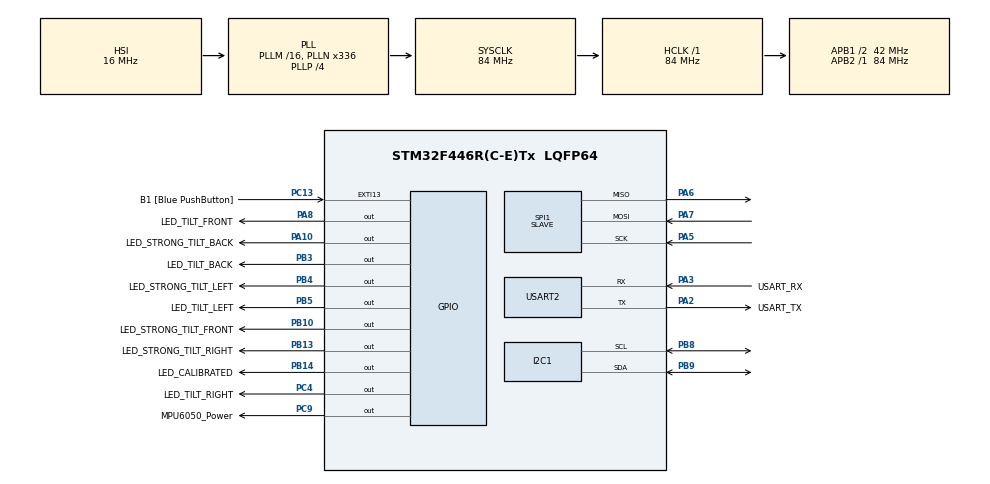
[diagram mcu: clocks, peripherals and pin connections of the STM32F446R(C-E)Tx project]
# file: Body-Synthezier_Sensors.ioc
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Dma.Request0=SPI1_RX
Dma.Request1=SPI1_TX
Dma.SPI1_RX.0.Direction=DMA_PERIPH_TO_MEMORY
Dma.SPI1_RX.0.FIFOMode=DMA_FIFOMODE_DISABLE
Dma.SPI1_RX.0.Instance=DMA2_Stream0
Dma.SPI1_RX.0.MemDataAlignment=DMA_MDATAALIGN_BYTE
Dma.SPI1_RX.0.MemInc=DMA_MINC_ENABLE
Dma.SPI1_RX.0.Mode=DMA_CIRCULAR
Dma.SPI1_RX.0.PeriphDataAlignment=DMA_PDATAALIGN_BYTE
Dma.SPI1_RX.0.PeriphInc=DMA_PINC_DISABLE
Dma.SPI1_RX.0.Priority=DMA_PRIORITY_LOW
Dma.SPI1_TX.1.Direction=DMA_MEMORY_TO_PERIPH
Dma.SPI1_TX.1.FIFOMode=DMA_FIFOMODE_DISABLE
Dma.SPI1_TX.1.Instance=DMA2_Stream3
Dma.SPI1_TX.1.MemDataAlignment=DMA_MDATAALIGN_BYTE
Dma.SPI1_TX.1.MemInc=DMA_MINC_ENABLE
Dma.SPI1_TX.1.Mode=DMA_CIRCULAR
Dma.SPI1_TX.1.PeriphDataAlignment=DMA_PDATAALIGN_BYTE
Dma.SPI1_TX.1.PeriphInc=DMA_PINC_DISABLE
Dma.SPI1_TX.1.Priority=DMA_PRIORITY_LOW
I2C1.I2C_Mode=I2C_Fast
Mcu.Family=STM32F4
Mcu.Name=STM32F446R(C-E)Tx
Mcu.Package=LQFP64
NVIC.DMA2_Stream0_IRQn=true\:0\:0\:false\:false\:true\:false\:true
NVIC.DMA2_Stream3_IRQn=true\:0\:0\:false\:false\:true\:false\:true
NVIC.PriorityGroup=NVIC_PRIORITYGROUP_0
PA10.GPIO_Label=LED_STRONG_TILT_BACK
PA10.Signal=GPIO_Output
PA13.GPIO_Label=TMS
PA13.Signal=SYS_JTMS-SWDIO
PA14.GPIO_Label=TCK
PA14.Signal=SYS_JTCK-SWCLK
PA2.GPIO_Label=USART_TX
PA2.Mode=Asynchronous
PA2.Signal=USART2_TX
PA3.GPIO_Label=USART_RX
PA3.Mode=Asynchronous
PA3.Signal=USART2_RX
PA5.Mode=Full_Duplex_Slave
PA5.Signal=SPI1_SCK
PA6.Mode=Full_Duplex_Slave
PA6.Signal=SPI1_MISO
PA7.Mode=Full_Duplex_Slave
PA7.Signal=SPI1_MOSI
PA8.GPIO_Label=LED_TILT_FRONT
PA8.Signal=GPIO_Output
PB10.GPIO_Label=LED_STRONG_TILT_FRONT
PB10.Signal=GPIO_Output
PB13.GPIO_Label=LED_STRONG_TILT_RIGHT
PB13.Signal=GPIO_Output
PB14.GPIO_Label=LED_CALIBRATED
PB14.Signal=GPIO_Output
PB3.GPIO_Label=LED_TILT_BACK
PB3.Signal=GPIO_Output
PB4.GPIO_Label=LED_STRONG_TILT_LEFT
PB4.Signal=GPIO_Output
PB5.GPIO_Label=LED_TILT_LEFT
PB5.Signal=GPIO_Output
PB8.Mode=I2C
PB8.Signal=I2C1_SCL
PB9.Mode=I2C
PB9.Signal=I2C1_SDA
PC13.GPIO_Label=B1 [Blue PushButton]
PC13.GPIO_ModeDefaultEXTI=GPIO_MODE_IT_FALLING
PC13.Signal=GPXTI13
PC14-OSC32_IN.Signal=RCC_OSC32_IN
PC15-OSC32_OUT.Signal=RCC_OSC32_OUT
PC4.GPIO_Label=LED_TILT_RIGHT
PC4.Signal=GPIO_Output
PC9.GPIO_Label=MPU6050_Power
PC9.Signal=GPIO_Output
PH0-OSC_IN.Signal=RCC_OSC_IN
PH1-OSC_OUT.Signal=RCC_OSC_OUT
ProjectManager.HeapSize=0x200
ProjectManager.StackSize=0x400
ProjectManager.TargetToolchain=STM32CubeIDE
RCC.AHBFreq_Value=84000000
RCC.APB1CLKDivider=RCC_HCLK_DIV2
RCC.APB1Freq_Value=42000000
RCC.APB1TimFreq_Value=84000000
RCC.APB2Freq_Value=84000000
RCC.APB2TimFreq_Value=84000000
RCC.CortexFreq_Value=84000000
RCC.FLatency-AdvancedSettings=FLASH_LATENCY_2
RCC.HCLKFreq_Value=84000000
RCC.HSE_VALUE=8000000
RCC.HSI_VALUE=16000000
RCC.LSE_VALUE=32768
RCC.PLLN=336
RCC.PLLP=RCC_PLLP_DIV4
RCC.SYSCLKFreq_VALUE=84000000
RCC.SYSCLKSource=RCC_SYSCLKSOURCE_PLLCLK
RCC.USBFreq_Value=168000000
RCC.VCOOutputFreq_Value=336000000
SPI1.CLKPolarity=SPI_POLARITY_HIGH
SPI1.Direction=SPI_DIRECTION_2LINES
SPI1.Mode=SPI_MODE_SLAVE
SPI1.VirtualType=VM_SLAVE
USART2.VirtualMode=VM_ASYNC
board=NUCLEO-F446RE

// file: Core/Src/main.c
/* USER CODE BEGIN Header */
/**
 ******************************************************************************
 * @file           : main.c
 * @brief          : Main program body
 ******************************************************************************
 * @attention
 *
 * <h2><center>&copy; Copyright (c) 2021 STMicroelectronics.
 * All rights reserved.</center></h2>
 *
 * This software component is licensed by ST under BSD 3-Clause license,
 * the "License"; You may not use this file except in compliance with the
 * License. You may obtain a copy of the License at:
 *                        opensource.org/licenses/BSD-3-Clause
 *
 ******************************************************************************
 */
/* USER CODE END Header */
#include "main.h"

I2C_HandleTypeDef hi2c1;

SPI_HandleTypeDef hspi1;
DMA_HandleTypeDef hdma_spi1_rx;
DMA_HandleTypeDef hdma_spi1_tx;

UART_HandleTypeDef huart2;

void SystemClock_Config(void);
static void MX_GPIO_Init(void);
static void MX_DMA_Init(void);
static void MX_SPI1_Init(void);
static void MX_USART2_UART_Init(void);
static void MX_I2C1_Init(void);

/**
 * @defgroup LED LED Feedback Controll and STMf4 main-loop
 * @ingroup SensorSTM
 * @brief Controlls the LED-Feedback-Board
 * @{
 */

int main(void)
{

  /* MCU Configuration--------------------------------------------------------*/

  /* Reset of all peripherals, Initializes the Flash interface and the Systick. */
  HAL_Init();

  /* Configure the system clock */
  SystemClock_Config();

  /* Initialize all configured peripherals */
  MX_GPIO_Init();
  MX_DMA_Init();
  MX_SPI1_Init();
  MX_USART2_UART_Init();
  MX_I2C1_Init();
  /* USER CODE BEGIN 2 */
	printf("***Bodysythesizer Sensor Board***\r\n");
	uint8_t initError_counter = 0;
	bool led_off = true;

	//Calibrated LED switc ON
	HAL_GPIO_WritePin(LED_CALIBRATED_GPIO_Port, LED_CALIBRATED_Pin,SET );

	for (int i =0;i<BUFFERSIZE;i++){
		pTxData[i] = 0;
		pRxData[i] = 0;
	}
	//Power up Gyro
	HAL_GPIO_WritePin(MPU6050_Power_GPIO_Port, MPU6050_Power_Pin,SET );
	HAL_Delay(10);

	//Gyros Init
	MPU6050_Data gyro_data;
	//	 MPU6050_STATUS gyro_status;
	while((initError_counter < 5) && MPU6050_init(&hi2c1, &gyro_data, MPU6050_ACCL_8G, MPU6050_GYRO_2000deg, MPU6050_SampleRate_2KHz != MPU6050_Status_OK)){
		initError_counter++;
		printf("MPU6050 Init Error\r\n");
		if (initError_counter == 3){
			printf("restart MPU6050\r\n");
			HAL_GPIO_WritePin(MPU6050_Power_GPIO_Port, MPU6050_Power_Pin,RESET );
			HAL_Delay(10);
			HAL_GPIO_WritePin(MPU6050_Power_GPIO_Port, MPU6050_Power_Pin,SET );
			HAL_Delay(10);
		}
	}
	if (initError_counter < 5){
		printf("MPU6050 Init complete\r\n");
		if ( MPU6050_Calibrate(&gyro_data) == MPU6050_Read_OK){
			printf("MPU6050 calibrated\r\n");
			SyncBuffer.gyro_initilized =true;
			HAL_GPIO_WritePin(LED_CALIBRATED_GPIO_Port, LED_CALIBRATED_Pin,RESET );

		}
		else{
			printf("MPU6050 calibration failed\r\n");
			SyncBuffer.gyro_initilized = false;
		}
	}
	else {
		SyncBuffer.gyro_initilized = false;
	}

  /* USER CODE END 2 */

  /* Infinite loop */
  /* USER CODE BEGIN WHILE */

	HAL_SPI_TransmitReceive_DMA(&hspi1, pTxData, pRxData, BUFFERSIZE);
	while (1)
	{
		// Get Movement detection and write into Sync buffer
		if(SyncBuffer.gyro_initilized == true){
			MPU6050_Read_Sensor();
			SyncBuffer.tilt_detected  = MPU6050_detectTilt();
		}

		__disable_irq();
		memcpy((void*)pTxData,(void*)&SyncBuffer, BUFFERSIZE);
		__enable_irq();

		//switch LED
		switch (SyncBuffer.tilt_detected) {
		case TILT_RIGHT:
			HAL_GPIO_WritePin(LED_TILT_RIGHT_GPIO_Port, LED_TILT_RIGHT_Pin,SET );
			led_off = false;
			break;
		case TILT_RIGHT_S:
			HAL_GPIO_WritePin(LED_TILT_RIGHT_GPIO_Port, LED_TILT_RIGHT_Pin,SET );
			HAL_GPIO_WritePin(LED_STRONG_TILT_RIGHT_GPIO_Port, LED_STRONG_TILT_RIGHT_Pin,SET );
			led_off = false;
			break;
		case TILT_LEFT:
			HAL_GPIO_WritePin(LED_TILT_LEFT_GPIO_Port, LED_TILT_LEFT_Pin,SET );
			led_off = false;
			break;
		case TILT_LEFT_S:
			HAL_GPIO_WritePin(LED_TILT_LEFT_GPIO_Port, LED_TILT_LEFT_Pin,SET );
			HAL_GPIO_WritePin(LED_STRONG_TILT_LEFT_GPIO_Port, LED_STRONG_TILT_LEFT_Pin,SET );
			led_off = false;
			break;
		case TILT_FRONT:
			HAL_GPIO_WritePin(LED_TILT_FRONT_GPIO_Port, LED_TILT_FRONT_Pin,SET );
			led_off = false;
			break;
		case TILT_FRONT_S:
			HAL_GPIO_WritePin(LED_TILT_FRONT_GPIO_Port, LED_TILT_FRONT_Pin,SET );
			HAL_GPIO_WritePin(LED_STRONG_TILT_FRONT_GPIO_Port, LED_STRONG_TILT_FRONT_Pin,SET );
			led_off = false;
			break;
		case TILT_BACK:
			HAL_GPIO_WritePin(LED_TILT_BACK_GPIO_Port, LED_TILT_BACK_Pin,SET );
			led_off = false;
			break;
		case TILT_BACK_S:
			HAL_GPIO_WritePin(LED_TILT_BACK_GPIO_Port, LED_TILT_BACK_Pin,SET );
			HAL_GPIO_WritePin(LED_STRONG_TILT_BACK_GPIO_Port, LED_STRONG_TILT_BACK_Pin,SET );
			led_off = false;
			break;
		default:
			if (!led_off) {
				HAL_GPIO_WritePin(LED_TILT_LEFT_GPIO_Port, LED_TILT_LEFT_Pin,RESET );
				HAL_GPIO_WritePin(LED_STRONG_TILT_LEFT_GPIO_Port, LED_STRONG_TILT_LEFT_Pin,RESET );
				HAL_GPIO_WritePin(LED_TILT_FRONT_GPIO_Port, LED_TILT_FRONT_Pin,RESET );
				HAL_GPIO_WritePin(LED_STRONG_TILT_FRONT_GPIO_Port, LED_STRONG_TILT_FRONT_Pin,RESET );
				HAL_GPIO_WritePin(LED_TILT_BACK_GPIO_Port, LED_TILT_BACK_Pin,RESET );
				HAL_GPIO_WritePin(LED_STRONG_TILT_BACK_GPIO_Port, LED_STRONG_TILT_BACK_Pin,RESET );
				HAL_GPIO_WritePin(LED_TILT_RIGHT_GPIO_Port, LED_TILT_RIGHT_Pin,RESET );
				HAL_GPIO_WritePin(LED_STRONG_TILT_RIGHT_GPIO_Port, LED_STRONG_TILT_RIGHT_Pin,RESET );
				led_off = true;
			}

			break;
		}
		//	HAL_Delay(10);
    /* USER CODE END WHILE */

	}
}
 /**
   * @}
   *
   */
void SystemClock_Config(void)
{
  RCC_OscInitTypeDef RCC_OscInitStruct = {0};
  RCC_ClkInitTypeDef RCC_ClkInitStruct = {0};

  /** Configure the main internal regulator output voltage
  */
  __HAL_RCC_PWR_CLK_ENABLE();
  __HAL_PWR_VOLTAGESCALING_CONFIG(PWR_REGULATOR_VOLTAGE_SCALE3);
  /** Initializes the RCC Oscillators according to the specified parameters
  * in the RCC_OscInitTypeDef structure.
  */
  RCC_OscInitStruct.OscillatorType = RCC_OSCILLATORTYPE_HSI;
  RCC_OscInitStruct.HSIState = RCC_HSI_ON;
  RCC_OscInitStruct.HSICalibrationValue = RCC_HSICALIBRATION_DEFAULT;
  RCC_OscInitStruct.PLL.PLLState = RCC_PLL_ON;
  RCC_OscInitStruct.PLL.PLLSource = RCC_PLLSOURCE_HSI;
  RCC_OscInitStruct.PLL.PLLM = 16;
  RCC_OscInitStruct.PLL.PLLN = 336;
  RCC_OscInitStruct.PLL.PLLP = RCC_PLLP_DIV4;
  RCC_OscInitStruct.PLL.PLLQ = 2;
  RCC_OscInitStruct.PLL.PLLR = 2;
  if (HAL_RCC_OscConfig(&RCC_OscInitStruct) != HAL_OK)
  {
    Error_Handler();
  }
  /** Initializes the CPU, AHB and APB buses clocks
  */
  RCC_ClkInitStruct.ClockType = RCC_CLOCKTYPE_HCLK|RCC_CLOCKTYPE_SYSCLK
                              |RCC_CLOCKTYPE_PCLK1|RCC_CLOCKTYPE_PCLK2;
  RCC_ClkInitStruct.SYSCLKSource = RCC_SYSCLKSOURCE_PLLCLK;
  RCC_ClkInitStruct.AHBCLKDivider = RCC_SYSCLK_DIV1;
  RCC_ClkInitStruct.APB1CLKDivider = RCC_HCLK_DIV2;
  RCC_ClkInitStruct.APB2CLKDivider = RCC_HCLK_DIV1;

  if (HAL_RCC_ClockConfig(&RCC_ClkInitStruct, FLASH_LATENCY_2) != HAL_OK)
  {
    Error_Handler();
  }
}

static void MX_I2C1_Init(void)
{

  hi2c1.Instance = I2C1;
  hi2c1.Init.ClockSpeed = 400000;
  hi2c1.Init.DutyCycle = I2C_DUTYCYCLE_2;
  hi2c1.Init.OwnAddress1 = 0;
  hi2c1.Init.AddressingMode = I2C_ADDRESSINGMODE_7BIT;
  hi2c1.Init.DualAddressMode = I2C_DUALADDRESS_DISABLE;
  hi2c1.Init.OwnAddress2 = 0;
  hi2c1.Init.GeneralCallMode = I2C_GENERALCALL_DISABLE;
  hi2c1.Init.NoStretchMode = I2C_NOSTRETCH_DISABLE;
  if (HAL_I2C_Init(&hi2c1) != HAL_OK)
  {
    Error_Handler();
  }

}

static void MX_SPI1_Init(void)
{

  /* SPI1 parameter configuration*/
  hspi1.Instance = SPI1;
  hspi1.Init.Mode = SPI_MODE_SLAVE;
  hspi1.Init.Direction = SPI_DIRECTION_2LINES;
  hspi1.Init.DataSize = SPI_DATASIZE_8BIT;
  hspi1.Init.CLKPolarity = SPI_POLARITY_HIGH;
  hspi1.Init.CLKPhase = SPI_PHASE_1EDGE;
  hspi1.Init.NSS = SPI_NSS_SOFT;
  hspi1.Init.FirstBit = SPI_FIRSTBIT_MSB;
  hspi1.Init.TIMode = SPI_TIMODE_DISABLE;
  hspi1.Init.CRCCalculation = SPI_CRCCALCULATION_DISABLE;
  hspi1.Init.CRCPolynomial = 10;
  if (HAL_SPI_Init(&hspi1) != HAL_OK)
  {
    Error_Handler();
  }

}

static void MX_USART2_UART_Init(void)
{

  huart2.Instance = USART2;
  huart2.Init.BaudRate = 115200;
  huart2.Init.WordLength = UART_WORDLENGTH_8B;
  huart2.Init.StopBits = UART_STOPBITS_1;
  huart2.Init.Parity = UART_PARITY_NONE;
  huart2.Init.Mode = UART_MODE_TX_RX;
  huart2.Init.HwFlowCtl = UART_HWCONTROL_NONE;
  huart2.Init.OverSampling = UART_OVERSAMPLING_16;
  if (HAL_UART_Init(&huart2) != HAL_OK)
  {
    Error_Handler();
  }

}

static void MX_DMA_Init(void)
{

  /* DMA controller clock enable */
  __HAL_RCC_DMA2_CLK_ENABLE();

  /* DMA interrupt init */
  /* DMA2_Stream0_IRQn interrupt configuration */
  HAL_NVIC_SetPriority(DMA2_Stream0_IRQn, 0, 0);
  HAL_NVIC_EnableIRQ(DMA2_Stream0_IRQn);
  /* DMA2_Stream3_IRQn interrupt configuration */
  HAL_NVIC_SetPriority(DMA2_Stream3_IRQn, 0, 0);
  HAL_NVIC_EnableIRQ(DMA2_Stream3_IRQn);

}

static void MX_GPIO_Init(void)
{
  GPIO_InitTypeDef GPIO_InitStruct = {0};

  /* GPIO Ports Clock Enable */
  __HAL_RCC_GPIOC_CLK_ENABLE();
  __HAL_RCC_GPIOH_CLK_ENABLE();
  __HAL_RCC_GPIOA_CLK_ENABLE();
  __HAL_RCC_GPIOB_CLK_ENABLE();

  /*Configure GPIO pin Output Level */
  HAL_GPIO_WritePin(GPIOC, LED_TILT_RIGHT_Pin|MPU6050_Power_Pin, GPIO_PIN_RESET);

  /*Configure GPIO pin Output Level */
  HAL_GPIO_WritePin(GPIOB, LED_STRONG_TILT_FRONT_Pin|LED_STRONG_TILT_RIGHT_Pin|LED_CALIBRATED_Pin|LED_TILT_BACK_Pin
                          |LED_STRONG_TILT_LEFT_Pin|LED_TILT_LEFT_Pin, GPIO_PIN_RESET);

  /*Configure GPIO pin Output Level */
  HAL_GPIO_WritePin(GPIOA, LED_TILT_FRONT_Pin|LED_STRONG_TILT_BACK_Pin, GPIO_PIN_RESET);

  /*Configure GPIO pin : B1_Pin */
  GPIO_InitStruct.Pin = B1_Pin;
  GPIO_InitStruct.Mode = GPIO_MODE_IT_FALLING;
  GPIO_InitStruct.Pull = GPIO_NOPULL;
  HAL_GPIO_Init(B1_GPIO_Port, &GPIO_InitStruct);

  /*Configure GPIO pins : LED_TILT_RIGHT_Pin MPU6050_Power_Pin */
  GPIO_InitStruct.Pin = LED_TILT_RIGHT_Pin|MPU6050_Power_Pin;
  GPIO_InitStruct.Mode = GPIO_MODE_OUTPUT_PP;
  GPIO_InitStruct.Pull = GPIO_NOPULL;
  GPIO_InitStruct.Speed = GPIO_SPEED_FREQ_LOW;
  HAL_GPIO_Init(GPIOC, &GPIO_InitStruct);

  /*Configure GPIO pins : LED_STRONG_TILT_FRONT_Pin LED_STRONG_TILT_RIGHT_Pin LED_CALIBRATED_Pin LED_TILT_BACK_Pin
                           LED_STRONG_TILT_LEFT_Pin LED_TILT_LEFT_Pin */
  GPIO_InitStruct.Pin = LED_STRONG_TILT_FRONT_Pin|LED_STRONG_TILT_RIGHT_Pin|LED_CALIBRATED_Pin|LED_TILT_BACK_Pin
                          |LED_STRONG_TILT_LEFT_Pin|LED_TILT_LEFT_Pin;
  GPIO_InitStruct.Mode = GPIO_MODE_OUTPUT_PP;
  GPIO_InitStruct.Pull = GPIO_NOPULL;
  GPIO_InitStruct.Speed = GPIO_SPEED_FREQ_LOW;
  HAL_GPIO_Init(GPIOB, &GPIO_InitStruct);

  /*Configure GPIO pins : LED_TILT_FRONT_Pin LED_STRONG_TILT_BACK_Pin */
  GPIO_InitStruct.Pin = LED_TILT_FRONT_Pin|LED_STRONG_TILT_BACK_Pin;
  GPIO_InitStruct.Mode = GPIO_MODE_OUTPUT_PP;
  GPIO_InitStruct.Pull = GPIO_NOPULL;
  GPIO_InitStruct.Speed = GPIO_SPEED_FREQ_LOW;
  HAL_GPIO_Init(GPIOA, &GPIO_InitStruct);

}

/* USER CODE BEGIN 4 */
//printf()
int __io_putchar(int ch)
{
	uint8_t c[1];
	c[0] = ch & 0x00FF;
	HAL_UART_Transmit(&huart2, &*c, 1, 10);
	return ch;
}

int _write(int file,char *ptr, int len)
{
	int DataIdx;
	for(DataIdx= 0; DataIdx< len; DataIdx++)
	{
		__io_putchar(*ptr++);
	}
	return len;
}
//printf() end
/* USER CODE END 4 */

void Error_Handler(void)
{
	__disable_irq();
	while (1)
	{
	}
}

/************************ (C) COPYRIGHT STMicroelectronics *****END OF FILE****/
